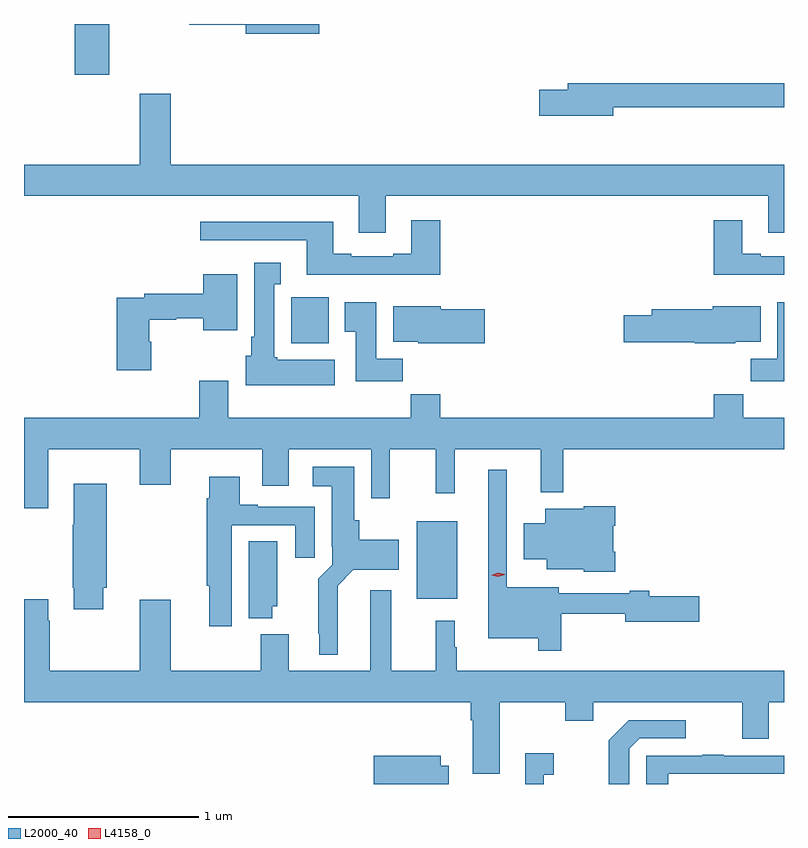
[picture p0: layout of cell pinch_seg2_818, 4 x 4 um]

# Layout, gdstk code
import gdstk
lib = gdstk.Library(unit=1e-6, precision=1e-09)
def R(c, l, rs):  # rectangles x0, y0, x1, y1
    for r in rs: c.add(gdstk.rectangle(r[:2], r[2:], *l))
def P(c, l, *ps):  # polygons
    for p in ps: c.add(gdstk.Polygon(p, *l))
L2000_40 = (2000, 40)
L4158_0 = (4158, 0)

pinch_seg2_818 = lib.new_cell('pinch_seg2_818')
R(pinch_seg2_818, L2000_40, [(861.77,608.219,861.985,608.629), (861.11,609.566,861.307,609.808), (859.97,610.977,860.153,611.245)])
P(pinch_seg2_818, L2000_40, [(861.259,611.245),(860.574,611.245),(860.574,611.242),(860.87,611.242),(860.87,611.195),(861.259,611.195)],
  [(862.804,610.806),(863.704,610.806),(863.704,610.934),(862.565,610.934),(862.565,610.898),(862.416,610.898),(862.416,610.763),(862.804,610.763)],
  [(861.607,610.34),(863.621,610.34),(863.621,610.146),(863.704,610.146),(863.704,610.504),(860.476,610.504),(860.476,610.879),(860.312,610.879),(860.312,610.504),(859.704,610.504),(859.704,610.34),(861.467,610.34),(861.467,610.146),(861.607,610.146)],
  [(863.704,610.023),(863.581,610.023),(863.581,610.036),(863.485,610.036),(863.485,610.213),(863.333,610.213),(863.333,609.926),(863.704,609.926)],
  [(861.896,610.213),(861.743,610.213),(861.743,610.036),(861.647,610.036),(861.647,610.023),(861.427,610.023),(861.427,610.036),(861.331,610.036),(861.331,610.204),(860.631,610.204),(860.631,610.107),(861.191,610.107),(861.191,609.926),(861.896,609.926)],
  [(861.34,609.478),(861.036,609.478),(861.036,609.492),(861.022,609.492),(861.022,609.875),(861.055,609.875),(861.055,609.988),(860.915,609.988),(860.915,609.598),(860.9,609.598),(860.9,609.498),(860.87,609.498),(860.87,609.344),(861.34,609.344)],
  [(860.375,609.573),(860.362,609.573),(860.362,609.688),(860.505,609.688),(860.505,609.696),(860.648,609.696),(860.648,609.632),(860.827,609.632),(860.827,609.928),(860.648,609.928),(860.648,609.824),(860.338,609.824),(860.338,609.804),(860.192,609.804),(860.192,609.423),(860.375,609.423)],
  [(861.698,609.484),(861.559,609.484),(861.559,609.781),(861.392,609.781),(861.392,609.625),(861.449,609.625),(861.449,609.366),(861.698,609.366)],
  [(863.704,609.781),(863.669,609.781),(863.669,609.484),(863.53,609.484),(863.53,609.366),(863.704,609.366)],
  [(862.129,609.743),(861.898,609.743),(861.898,609.76),(861.647,609.76),(861.647,609.572),(861.78,609.572),(861.78,609.566),(862.129,609.566)],
  [(863.448,609.572),(863.581,609.572),(863.581,609.76),(863.33,609.76),(863.33,609.743),(863.009,609.743),(863.009,609.713),(862.86,609.713),(862.86,609.571),(863.234,609.571),(863.234,609.566),(863.448,609.566)],
  [(859.704,608.697),(859.831,608.697),(859.831,609.008),(860.312,609.008),(860.312,608.82),(860.476,608.82),(860.476,609.008),(860.957,609.008),(860.957,608.814),(861.097,608.814),(861.097,609.008),(861.531,609.008),(861.531,608.748),(861.63,608.748),(861.63,609.008),(861.871,609.008),(861.871,608.775),(861.971,608.775),(861.971,609.008),(862.424,609.008),(862.424,608.78),(862.541,608.78),(862.541,609.008),(863.704,609.008),(863.704,609.172),(863.489,609.172),(863.489,609.296),(863.333,609.296),(863.333,609.172),(861.896,609.172),(861.896,609.296),(861.739,609.296),(861.739,609.172),(860.779,609.172),(860.779,609.367),(860.627,609.367),(860.627,609.172),(859.704,609.172)],
  [(861.355,608.288),(861.438,608.372),(861.676,608.372),(861.676,608.53),(861.468,608.53),(861.468,608.634),(861.442,608.634),(861.442,608.914),(861.225,608.914),(861.225,608.813),(861.323,608.813),(861.323,608.494),(861.327,608.494),(861.327,608.4),(861.253,608.326),(861.253,608.035),(861.257,608.035),(861.257,607.925),(861.355,607.925)],
  [(862.531,608.142),(862.868,608.142),(862.868,608.099),(863.257,608.099),(863.257,608.234),(862.996,608.234),(862.996,608.263),(862.892,608.263),(862.892,608.25),(862.519,608.25),(862.519,608.281),(862.245,608.281),(862.245,608.899),(862.148,608.899),(862.148,608.012),(862.41,608.012),(862.41,607.947),(862.531,607.947)],
  [(860.797,608.607),(861.131,608.607),(861.131,608.436),(861.235,608.436),(861.235,608.703),(860.935,608.703),(860.935,608.716),(860.839,608.716),(860.839,608.863),(860.678,608.863),(860.678,608.75),(860.666,608.75),(860.666,608.288),(860.678,608.288),(860.678,608.076),(860.797,608.076)],
  [(860.122,608.278),(860.14,608.278),(860.14,608.824),(859.967,608.824),(859.967,608.609),(859.96,608.609),(859.96,608.278),(859.967,608.278),(859.967,608.166),(860.122,608.166)],
  [(862.817,608.467),(862.804,608.467),(862.804,608.603),(862.817,608.603),(862.817,608.707),(862.65,608.707),(862.65,608.695),(862.448,608.695),(862.448,608.617),(862.334,608.617),(862.334,608.429),(862.454,608.429),(862.454,608.375),(862.65,608.375),(862.65,608.363),(862.817,608.363)],
  [(861.01,608.181),(861.037,608.181),(861.037,608.522),(860.888,608.522),(860.888,608.117),(861.01,608.117)],
  [(860.312,608.215),(860.312,607.84),(859.839,607.84),(859.839,608.105),(859.831,608.105),(859.831,608.218),(859.704,608.218),(859.704,607.676),(862.055,607.676),(862.055,607.58),(862.067,607.58),(862.067,607.299),(862.207,607.299),(862.207,607.676),(862.552,607.676),(862.552,607.577),(862.699,607.577),(862.699,607.676),(863.483,607.676),(863.483,607.482),(863.623,607.482),(863.623,607.676),(863.704,607.676),(863.704,607.84),(861.982,607.84),(861.982,607.964),(861.97,607.964),(861.97,608.104),(861.871,608.104),(861.871,607.84),(861.637,607.84),(861.637,608.266),(861.527,608.266),(861.527,607.84),(861.097,607.84),(861.097,608.032),(860.95,608.032),(860.95,607.84),(860.476,607.84),(860.476,608.215)],
  [(862.89,607.431),(862.944,607.485),(863.188,607.485),(863.188,607.581),(862.887,607.581),(862.782,607.475),(862.782,607.245),(862.89,607.245)],
  [(862.44,607.295),(862.492,607.295),(862.492,607.408),(862.343,607.408),(862.343,607.245),(862.44,607.245)],
  [(863.096,607.299),(863.704,607.299),(863.704,607.395),(863.387,607.395),(863.387,607.4),(863.275,607.4),(863.275,607.395),(862.98,607.395),(862.98,607.245),(863.096,607.245)],
  [(861.939,607.342),(861.898,607.342),(861.898,607.393),(861.546,607.393),(861.546,607.245),(861.939,607.245)])
P(pinch_seg2_818, L4158_0, [(862.2,608.336),(862.164,608.344),(862.164,608.344),(862.164,608.344),(862.199,608.356),(862.234,608.348),(862.235,608.347),(862.234,608.347)])

lib.write_gds('pinch_seg2_818.gds')
